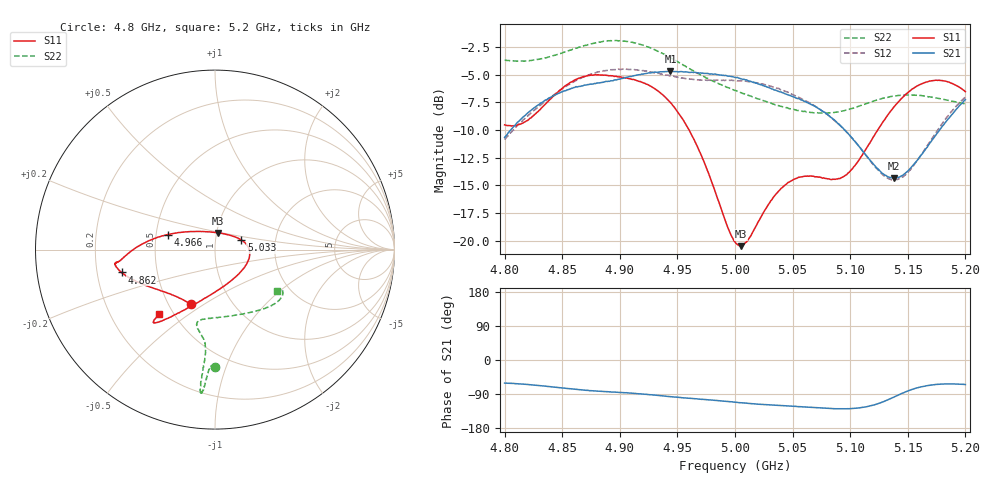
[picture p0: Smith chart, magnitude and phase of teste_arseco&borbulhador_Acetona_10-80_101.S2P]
! Network Analyzer HP8722D
! Hewlett-Packard
! Data name: Linha & Wilkinson
! Saver's name: Rodrigo Anjos
! Comments: Teste da utilização de aquisição
! continua pelo VNA HP8722D
! Time and date: 17/4/2025 15:12
!  Frequency  S11  S21  S12  S22
# HZ  S  MA R 50
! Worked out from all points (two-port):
!   401 points, 4.8 GHz to 5.2 GHz, reference 50 ohm
!   highest |S21| = -4.67 dB at 4.944 GHz (marker M1); lowest = -14.4 dB at 5.138 GHz (marker M2)
!   |S21| within 3 dB of the highest: 4.83 GHz to 5.066 GHz (236 MHz wide, 4.77 % of centre); 5.195956 GHz to end of sweep
!   lowest |S11| = -20.5 dB at 5.005 GHz (marker M3), VSWR 1.21, Z = 50.5 + j9.52 ohm
!   |S11| at or under -10 dB: 4.96 GHz to 5.124 GHz (163.6 MHz wide, 3.25 % of centre)
!   |S22| runs from -8.5 to -1.9 dB; largest |S21 - S12| = 0.88
!   S11 on the Smith chart (normalised r, x): 4.8 GHz: 0.64, -0.44; 4.862 GHz: 0.31, -0.11; 4.966 GHz: 0.58, +0.10; 5.033 GHz: 1.33, +0.15; 5.2 GHz: 0.42, -0.39
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4.8e9  0.3341 -113.8  0.2929 -61.0  0.2867 -175.2  0.6563 -90.2
4.819e9  0.3481 -133.8  0.3738 -64.5  0.3621 -173.9  0.6509 -91.8
4.862e9  0.5359 -166.2  0.4977 -77.4  0.5303 -177.2  0.7425 -94.1
4.867e9  0.5485 -168.2  0.5015 -79.0  0.5457 -178.1  0.7559 -94.3
4.899e9  0.5509 -172.7  0.5374 -85.6  0.597 175.3  0.8009 -95.6
4.934e9  0.4719 -178.6  0.5788 -93.9  0.5715 171.6  0.7139 -96.0
4.944e9  0.4211 176.8  0.5838 -96.5  0.5563 171.7  0.6725 -95.7
4.966e9  0.2757 162.3  0.5764 -102.3  0.5347 173.6  0.5768 -95.2
5e9  0.09868 99.6  0.5475 -111.3  0.5306 175.7  0.4778 -99.4
5.005e9  0.09443 81.4  0.5399 -112.8  0.5288 175.7  0.4673 -100.5
5.012e9  0.1022 58.5  0.5266 -114.6  0.5237 175.7  0.4535 -102.0
5.033e9  0.1564 20.3  0.4843 -119.1  0.496 174.4  0.4148 -103.8
5.048e9  0.1855 4.7  0.4532 -121.7  0.4647 173.9  0.395 -100.3
5.067e9  0.1957 -15.4  0.4118 -125.2  0.4139 173.4  0.38 -90.4
5.085e9  0.1895 -43.5  0.355 -128.4  0.3546 173.6  0.3802 -76.8
5.097e9  0.1988 -67.8  0.3095 -128.7  0.3096 174.7  0.39 -66.9
5.134e9  0.3784 -117.1  0.1934 -103.4  0.1899 -156.3  0.4475 -43.1
5.138e9  0.4029 -119.4  0.1913 -97.8  0.1883 -149.9  0.4508 -41.3
5.15e9  0.4671 -124.7  0.2063 -81.9  0.2035 -131.6  0.4562 -36.8
5.17e9  0.528 -129.4  0.2794 -66.1  0.2849 -112.3  0.4464 -32.1
5.184e9  0.5241 -130.6  0.3501 -63.2  0.3624 -107.4  0.4323 -31.2
5.2e9  0.4719 -130.9  0.4345 -64.8  0.4466 -106.8  0.4152 -33.6
